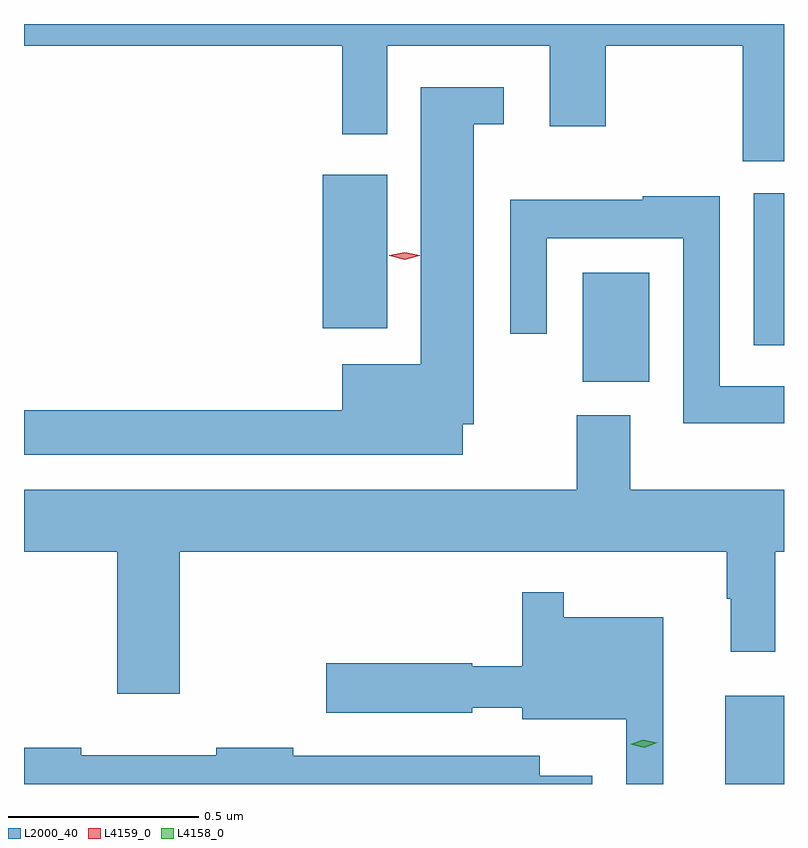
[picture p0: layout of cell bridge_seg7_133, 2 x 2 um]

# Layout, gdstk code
import gdstk
lib = gdstk.Library(unit=1e-6, precision=1e-09)
def R(c, l, rs):  # rectangles x0, y0, x1, y1
    for r in rs: c.add(gdstk.rectangle(r[:2], r[2:], *l))
def P(c, l, *ps):  # polygons
    for p in ps: c.add(gdstk.Polygon(p, *l))
L2000_40 = (2000, 40)
L4158_0 = (4158, 0)
L4159_0 = (4159, 0)

bridge_seg7_133 = lib.new_cell('bridge_seg7_133')
R(bridge_seg7_133, L2000_40, [(873.899,1054.617,874.054,1054.849), (873.524,1055.675,873.7,1055.962), (873.974,1055.772,874.054,1056.171), (872.84,1055.817,873.01,1056.22)])
P(bridge_seg7_133, L2000_40, [(874.054,1056.617),(872.054,1056.617),(872.054,1056.56),(872.892,1056.56),(872.892,1056.327),(873.01,1056.327),(873.01,1056.56),(873.437,1056.56),(873.437,1056.348),(873.585,1056.348),(873.585,1056.56),(873.946,1056.56),(873.946,1056.256),(874.054,1056.256)],
  [(873.208,1055.564),(873.238,1055.564),(873.238,1056.353),(873.316,1056.353),(873.316,1056.45),(873.098,1056.45),(873.098,1055.722),(872.891,1055.722),(872.891,1055.6),(872.054,1055.6),(872.054,1055.484),(872.995,1055.484),(872.995,1055.483),(873.208,1055.483)],
  [(874.054,1055.664),(873.885,1055.664),(873.885,1056.164),(873.682,1056.164),(873.682,1056.154),(873.333,1056.154),(873.333,1055.802),(873.429,1055.802),(873.429,1056.053),(873.789,1056.053),(873.789,1055.567),(874.054,1055.567)],
  [(872.464,1055.228),(873.903,1055.228),(873.903,1055.105),(873.914,1055.105),(873.914,1054.965),(874.031,1054.965),(874.031,1055.228),(874.054,1055.228),(874.054,1055.392),(873.649,1055.392),(873.649,1055.587),(873.509,1055.587),(873.509,1055.392),(872.054,1055.392),(872.054,1055.228),(872.3,1055.228),(872.3,1054.854),(872.464,1054.854)],
  [(873.736,1055.056),(873.475,1055.056),(873.475,1055.122),(873.365,1055.122),(873.365,1054.927),(873.234,1054.927),(873.234,1054.935),(872.85,1054.935),(872.85,1054.805),(873.234,1054.805),(873.234,1054.818),(873.365,1054.818),(873.365,1054.787),(873.639,1054.787),(873.639,1054.617),(873.736,1054.617)],
  [(873.55,1054.639),(873.411,1054.639),(873.411,1054.692),(872.762,1054.692),(872.762,1054.712),(872.56,1054.712),(872.56,1054.693),(872.204,1054.693),(872.204,1054.712),(872.054,1054.712),(872.054,1054.617),(873.55,1054.617)])
P(bridge_seg7_133, L4158_0, [(873.686,1054.713),(873.65,1054.721),(873.649,1054.721),(873.65,1054.721),(873.684,1054.733),(873.72,1054.726),(873.72,1054.725),(873.72,1054.725)])
P(bridge_seg7_133, L4159_0, [(873.056,1055.997),(873.015,1056.007),(873.015,1056.007),(873.015,1056.008),(873.056,1056.017),(873.096,1056.008),(873.096,1056.007),(873.096,1056.007)])

lib.write_gds('bridge_seg7_133.gds')
